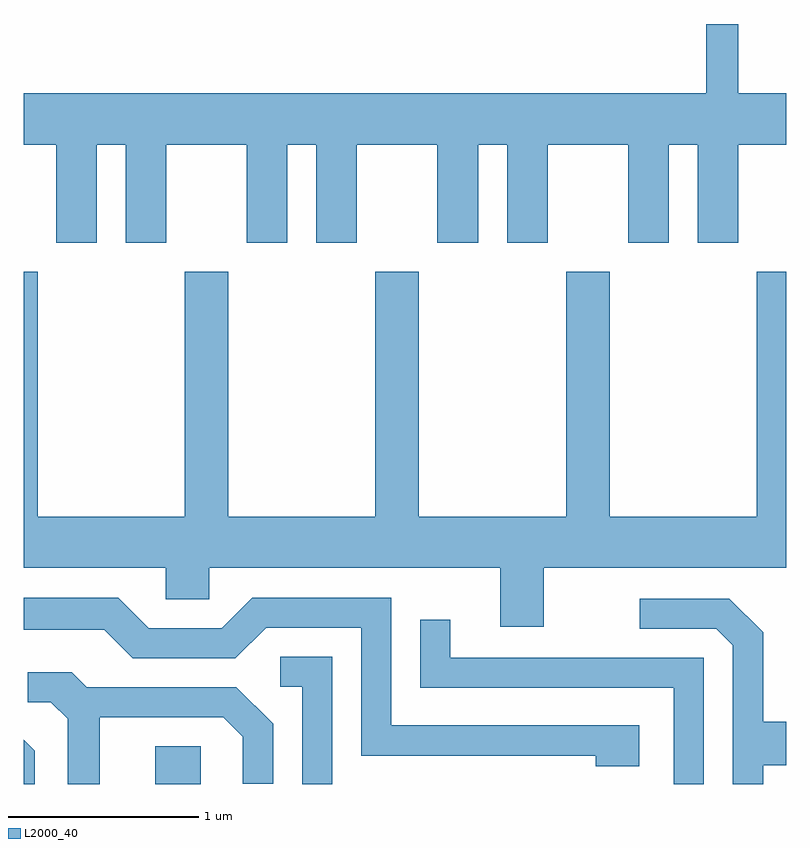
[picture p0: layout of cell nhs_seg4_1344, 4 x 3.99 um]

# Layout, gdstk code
import gdstk
lib = gdstk.Library(unit=1e-6, precision=1e-09)
def R(c, l, rs):  # rectangles x0, y0, x1, y1
    for r in rs: c.add(gdstk.rectangle(r[:2], r[2:], *l))
def P(c, l, *ps):  # polygons
    for p in ps: c.add(gdstk.Polygon(p, *l))
L2000_40 = (2000, 40)

nhs_seg4_1344 = lib.new_cell('nhs_seg4_1344')
R(nhs_seg4_1344, L2000_40, [(224.301,1357.982,224.539,1358.179)])
P(nhs_seg4_1344, L2000_40, [(223.994,1361.336),(224.146,1361.336),(224.146,1360.821),(224.359,1360.821),(224.359,1361.336),(224.781,1361.336),(224.781,1360.821),(224.994,1360.821),(224.994,1361.336),(225.146,1361.336),(225.146,1360.821),(225.359,1360.821),(225.359,1361.336),(225.781,1361.336),(225.781,1360.821),(225.994,1360.821),(225.994,1361.336),(226.146,1361.336),(226.146,1360.821),(226.359,1360.821),(226.359,1361.336),(226.781,1361.336),(226.781,1360.821),(226.994,1360.821),(226.994,1361.336),(227.146,1361.336),(227.146,1360.821),(227.359,1360.821),(227.359,1361.336),(227.611,1361.336),(227.611,1361.604),(227.359,1361.604),(227.359,1361.968),(227.191,1361.968),(227.191,1361.604),(223.611,1361.604),(223.611,1361.336),(223.781,1361.336),(223.781,1360.821),(223.994,1360.821)],
  [(226.339,1359.116),(227.611,1359.116),(227.611,1360.669),(227.456,1360.669),(227.456,1359.384),(226.684,1359.384),(226.684,1360.669),(226.456,1360.669),(226.456,1359.384),(225.684,1359.384),(225.684,1360.669),(225.456,1360.669),(225.456,1359.384),(224.684,1359.384),(224.684,1360.669),(224.456,1360.669),(224.456,1359.384),(223.684,1359.384),(223.684,1360.669),(223.611,1360.669),(223.611,1359.116),(224.356,1359.116),(224.356,1358.951),(224.584,1358.951),(224.584,1359.116),(226.111,1359.116),(226.111,1358.806),(226.339,1358.806)],
  [(226.839,1358.289),(225.539,1358.289),(225.539,1358.959),(224.809,1358.959),(224.649,1358.799),(224.267,1358.799),(224.107,1358.959),(223.611,1358.959),(223.611,1358.791),(224.034,1358.791),(224.184,1358.641),(224.722,1358.641),(224.882,1358.801),(225.381,1358.801),(225.381,1358.131),(226.611,1358.131),(226.611,1358.076),(226.839,1358.076)],
  [(227.489,1358.081),(227.611,1358.081),(227.611,1358.309),(227.489,1358.309),(227.489,1358.777),(227.312,1358.954),(226.843,1358.954),(226.843,1358.796),(227.244,1358.796),(227.331,1358.709),(227.331,1357.982),(227.489,1357.982)],
  [(227.179,1358.644),(225.849,1358.644),(225.849,1358.843),(225.691,1358.843),(225.691,1358.486),(227.021,1358.486),(227.021,1357.982),(227.179,1357.982)],
  [(225.229,1358.649),(224.958,1358.649),(224.958,1358.491),(225.071,1358.491),(225.071,1357.982),(225.229,1357.982)],
  [(224.009,1358.331),(224.659,1358.331),(224.761,1358.229),(224.761,1357.983),(224.919,1357.983),(224.919,1358.297),(224.727,1358.489),(223.942,1358.489),(223.862,1358.569),(223.633,1358.569),(223.633,1358.411),(223.754,1358.411),(223.841,1358.324),(223.841,1357.982),(224.009,1357.982)],
  [(223.669,1358.157),(223.611,1358.215),(223.611,1357.982),(223.669,1357.982)])

lib.write_gds('nhs_seg4_1344.gds')
